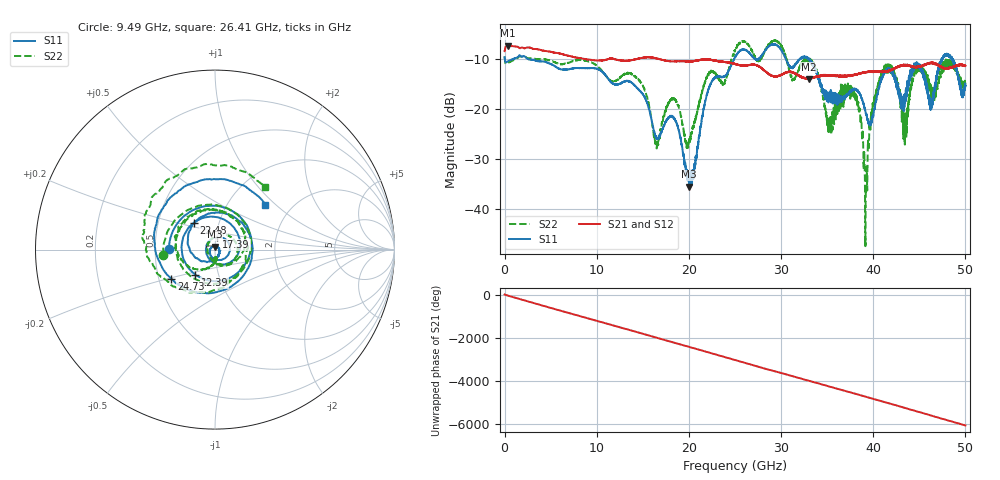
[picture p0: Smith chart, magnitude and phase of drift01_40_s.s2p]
!Created with skrf (http://scikit-rf.org).
# Hz S RI R 50.0
!freq ReS11 ImS11 ReS21 ImS21 ReS12 ImS12 ReS22 ImS22
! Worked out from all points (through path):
!   10001 points, 300 kHz to 50 GHz, reference 50 ohm
!   highest |S21| = -7.33 dB at 345.3 MHz (marker M1); lowest = -14.0 dB at 33.02 GHz (marker M2)
!   group delay of S21, straight-line fit = 335 ps
!   lowest |S11| = -35.6 dB at 20.01 GHz (marker M3), VSWR 1.03, Z = 49.8 + j1.64 ohm
!   |S11| at or under -10 dB: 2.557 GHz to 24.91 GHz (22.35 GHz wide, 163 % of centre); 30.51 GHz to 32.02 GHz (1.507 GHz wide, 4.82 % of centre); 33.06 GHz to 47.42 GHz (14.36 GHz wide, 35.7 % of centre) (the widest 3 of 23)
!   |S22| runs from -47.5 to -6.3 dB; largest |S21 - S12| = 0.0084
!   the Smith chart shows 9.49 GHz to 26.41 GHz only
!   S11 on the Smith chart (normalised r, x): 9.49 GHz: 0.59, +0.01; 12.39 GHz: 0.78, -0.23; 17.39 GHz: 1.01, +0.14; 22.48 GHz: 0.76, +0.24; 24.73 GHz: 0.58, -0.21; 26.41 GHz: 1.49, +0.86
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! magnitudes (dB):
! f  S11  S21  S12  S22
! 300 kHz  -9.6  -8.4  -8.5  -9.5
! 345.3 MHz  -10.5  -7.3  -7.3  -10.8
! 8.335 GHz  -11.8  -9.8  -9.9  -10.2
! 9.49 GHz  -11.8  -10.2  -10.2  -10.8
! 12.39 GHz  -15.0  -10.2  -10.2  -13.9
! 16.67 GHz  -26.0  -10.0  -10.0  -27.1
! 17.39 GHz  -23.0  -10.3  -10.3  -20.6
! 20.01 GHz  -35.6  -10.5  -10.5  -26.5
! 22.48 GHz  -14.4  -10.2  -10.2  -12.5
! 24.73 GHz  -10.7  -10.9  -10.9  -9.4
! 25 GHz  -9.6  -11.0  -11.0  -8.3
! 26.41 GHz  -8.5  -11.3  -11.3  -7.0
! 33.02 GHz  -10.0  -14.0  -13.9  -10.0
! 33.34 GHz  -10.8  -13.8  -13.8  -10.6
! 35.23 GHz  -17.2  -13.2  -13.3  -22.2
! 37.99 GHz  -16.0  -13.2  -13.2  -17.2
! 39.17 GHz  -20.7  -12.6  -12.6  -41.7
! 40.14 GHz  -20.0  -12.5  -12.5  -17.7
! 41.67 GHz  -12.1  -12.4  -12.4  -11.7
! 43.4 GHz  -17.6  -11.2  -11.2  -23.9
! 44.87 GHz  -11.0  -11.6  -11.5  -11.5
! 50 GHz  -15.5  -11.4  -11.4  -15.1
